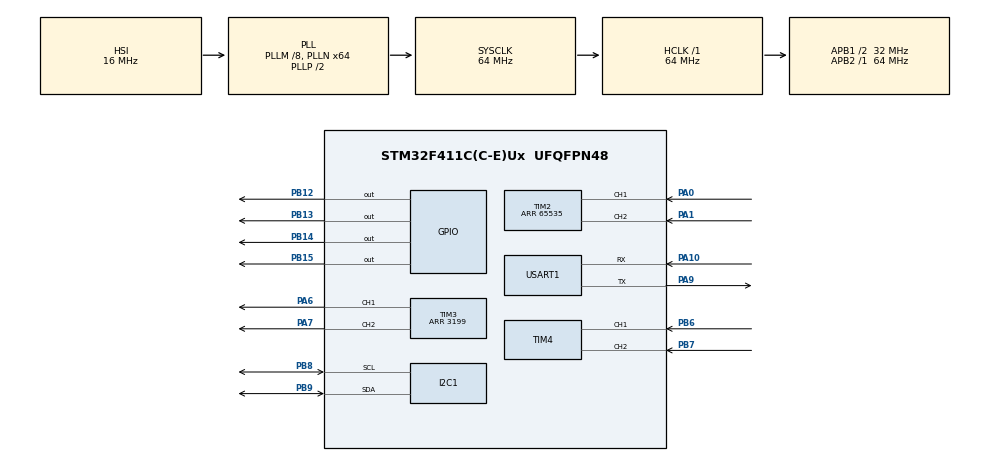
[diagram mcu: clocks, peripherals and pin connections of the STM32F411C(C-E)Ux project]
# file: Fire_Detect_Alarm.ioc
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Mcu.Family=STM32F4
Mcu.Name=STM32F411C(C-E)Ux
Mcu.Package=UFQFPN48
NVIC.I2C1_EV_IRQn=true\:0\:0\:false\:false\:true\:true\:true\:true
NVIC.PriorityGroup=NVIC_PRIORITYGROUP_4
NVIC.TIM1_UP_TIM10_IRQn=true\:0\:0\:false\:false\:true\:true\:true\:true
NVIC.TIM2_IRQn=true\:0\:0\:false\:false\:true\:true\:true\:true
NVIC.TIM4_IRQn=true\:0\:0\:false\:false\:true\:true\:true\:true
PA0-WKUP.Signal=S_TIM2_CH1_ETR
PA1.Signal=S_TIM2_CH2
PA10.Mode=Asynchronous
PA10.Signal=USART1_RX
PA13.Mode=Serial_Wire
PA13.Signal=SYS_JTMS-SWDIO
PA14.Mode=Serial_Wire
PA14.Signal=SYS_JTCK-SWCLK
PA6.Signal=S_TIM3_CH1
PA7.Signal=S_TIM3_CH2
PA9.Mode=Asynchronous
PA9.Signal=USART1_TX
PB12.Signal=GPIO_Output
PB13.Signal=GPIO_Output
PB14.Signal=GPIO_Output
PB15.Signal=GPIO_Output
PB6.Signal=S_TIM4_CH1
PB7.Signal=S_TIM4_CH2
PB8.Mode=I2C
PB8.Signal=I2C1_SCL
PB9.Mode=I2C
PB9.Signal=I2C1_SDA
ProjectManager.HeapSize=0x200
ProjectManager.StackSize=0x400
ProjectManager.TargetToolchain=MDK-ARM V5.32
RCC.48MHZClocksFreq_Value=32000000
RCC.AHBFreq_Value=64000000
RCC.APB1CLKDivider=RCC_HCLK_DIV2
RCC.APB1Freq_Value=32000000
RCC.APB1TimFreq_Value=64000000
RCC.APB2Freq_Value=64000000
RCC.APB2TimFreq_Value=64000000
RCC.CortexFreq_Value=64000000
RCC.HCLKFreq_Value=64000000
RCC.HSE_VALUE=25000000
RCC.HSI_VALUE=16000000
RCC.LSE_VALUE=32768
RCC.PLLM=8
RCC.PLLN=64
RCC.SYSCLKFreq_VALUE=64000000
RCC.SYSCLKSource=RCC_SYSCLKSOURCE_PLLCLK
RCC.VCOOutputFreq_Value=128000000
SH.S_TIM2_CH1_ETR.0=TIM2_CH1,Encoder_Interface
SH.S_TIM2_CH2.0=TIM2_CH2,Encoder_Interface
SH.S_TIM3_CH1.0=TIM3_CH1,PWM Generation1 CH1
SH.S_TIM3_CH2.0=TIM3_CH2,PWM Generation2 CH2
SH.S_TIM4_CH1.0=TIM4_CH1,Encoder_Interface
SH.S_TIM4_CH2.0=TIM4_CH2,Encoder_Interface
TIM1.Period=1999
TIM1.Prescaler=63
TIM2.EncoderMode=TIM_ENCODERMODE_TI12
TIM2.Period=65535
TIM3.Channel-PWM\ Generation1\ CH1=TIM_CHANNEL_1
TIM3.Channel-PWM\ Generation2\ CH2=TIM_CHANNEL_2
TIM3.Period=3199
TIM4.EncoderMode=TIM_ENCODERMODE_TI12
USART1.VirtualMode=VM_ASYNC
VP_TIM1_VS_ClockSourceINT.Mode=Internal
board=custom

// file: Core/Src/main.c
/* USER CODE BEGIN Header */
/**
  ******************************************************************************
  * @file           : main.c
  * @brief          : Main program body
  ******************************************************************************
  * @attention
  *
  * Copyright (c) 2025 STMicroelectronics.
  * All rights reserved.
  *
  * This software is licensed under terms that can be found in the LICENSE file
  * in the root directory of this software component.
  * If no LICENSE file comes with this software, it is provided AS-IS.
  *
  ******************************************************************************
  */
/* USER CODE END Header */
#include "main.h"

/* USER CODE BEGIN Includes */
#include "pid.h"
#include "Motor.h"
#include "math.h"
#include "mpu.h"

float Ax,Ay,Az,Gx,Gy,Gz;
float pitch  ;
float roll ;
float yaw ;
#define RTD          57.2957

/* USER CODE END Includes */

I2C_HandleTypeDef hi2c1;

TIM_HandleTypeDef htim1;
TIM_HandleTypeDef htim2;
TIM_HandleTypeDef htim3;
TIM_HandleTypeDef htim4;

UART_HandleTypeDef huart1;

void SystemClock_Config(void);
static void MX_GPIO_Init(void);
static void MX_I2C1_Init(void);
static void MX_TIM1_Init(void);
static void MX_TIM2_Init(void);
static void MX_TIM3_Init(void);
static void MX_TIM4_Init(void);
static void MX_USART1_UART_Init(void);

/* USER CODE BEGIN 0 */
Motor Left_motor;
Motor *pLeft = &Left_motor;
Motor Right_motor;
Motor *pRight = &Right_motor;
PID_TypeDef RPID;
PID_TypeDef LPID;

/* USER CODE END 0 */

int main(void)
{

  /* MCU Configuration--------------------------------------------------------*/

  /* Reset of all peripherals, Initializes the Flash interface and the Systick. */
  HAL_Init();

  /* Configure the system clock */
  SystemClock_Config();

  /* Initialize all configured peripherals */
  MX_GPIO_Init();
  MX_I2C1_Init();
  MX_TIM1_Init();
  MX_TIM2_Init();
  MX_TIM3_Init();
  MX_TIM4_Init();
  MX_USART1_UART_Init();
  /* USER CODE BEGIN 2 */
	 HAL_TIM_Base_Start_IT(&htim1);
	 HAL_TIM_Encoder_Start_IT(&htim2, TIM_CHANNEL_ALL); //LEFT
	 HAL_TIM_Encoder_Start_IT(&htim4, TIM_CHANNEL_ALL); //RIGHT

// --- PWM start ---
   HAL_TIM_PWM_Start(&htim3, TIM_CHANNEL_1);
   HAL_TIM_PWM_Start(&htim3, TIM_CHANNEL_2);
	 HAL_NVIC_SetPriority(TIM1_UP_TIM10_IRQn, 0, 0);
   HAL_NVIC_EnableIRQ(TIM1_UP_TIM10_IRQn);

// --- Base timer for control loop (interrupt) ---
	// Khoi tao 2 banh xe
   Motor_Init(&Left_motor, LEFT,GPIOB, GPIO_PIN_12, GPIOB, GPIO_PIN_13,&htim3, TIM_CHANNEL_1, &htim2, 10, 1.2, 0.3);
   Motor_Init(&Right_motor,RIGHT,GPIOB, GPIO_PIN_14, GPIOB, GPIO_PIN_15,&htim3, TIM_CHANNEL_2, &htim4	, 10 ,1.2, 0.3);

	// Khoi tao PID
	 PID(&LPID, &(pLeft->cur_speed),&(pLeft->Pid_output),&(pLeft->target_speed),pLeft->kp, pLeft->ki, pLeft->kd,_PID_P_ON_E, _PID_CD_DIRECT);
   PID_SetMode(&LPID, _PID_MODE_AUTOMATIC);
   PID_SetSampleTime(&LPID, 2);
   PID_SetOutputLimits(&LPID, -3199, 3199);

	 PID(&RPID,&(pRight->cur_speed),&(pRight->Pid_output), &(pRight->target_speed),pRight->kp, pRight->ki, pRight->kd,_PID_P_ON_E, _PID_CD_DIRECT);
   PID_SetMode(&RPID, _PID_MODE_AUTOMATIC);
   PID_SetSampleTime(&RPID, 2);
   PID_SetOutputLimits(&RPID, -3199, 3199);

	 Motor_SetTarget(&Left_motor,200);
	 Motor_SetTarget(&Right_motor,200);

	  MPU6050_init();

  /* USER CODE END 2 */

  /* Infinite loop */
  while (1)
  {

    /* USER CODE BEGIN 3 */
		MPU6050_Read_Accel(&Ax,&Ay,&Az);
		MPU6050_Read_Gyro(&Gx,&Gy,&Gz);
		filter(&Ax,&Ay,&Az,&Gx,&Gy,&Gz,&pitch,&roll,&yaw);

  }

  /* USER CODE END 3 */
}

void SystemClock_Config(void)
{
  RCC_OscInitTypeDef RCC_OscInitStruct = {0};
  RCC_ClkInitTypeDef RCC_ClkInitStruct = {0};

  /** Configure the main internal regulator output voltage
  */
  __HAL_RCC_PWR_CLK_ENABLE();
  __HAL_PWR_VOLTAGESCALING_CONFIG(PWR_REGULATOR_VOLTAGE_SCALE1);

  /** Initializes the RCC Oscillators according to the specified parameters
  * in the RCC_OscInitTypeDef structure.
  */
  RCC_OscInitStruct.OscillatorType = RCC_OSCILLATORTYPE_HSI;
  RCC_OscInitStruct.HSIState = RCC_HSI_ON;
  RCC_OscInitStruct.HSICalibrationValue = RCC_HSICALIBRATION_DEFAULT;
  RCC_OscInitStruct.PLL.PLLState = RCC_PLL_ON;
  RCC_OscInitStruct.PLL.PLLSource = RCC_PLLSOURCE_HSI;
  RCC_OscInitStruct.PLL.PLLM = 8;
  RCC_OscInitStruct.PLL.PLLN = 64;
  RCC_OscInitStruct.PLL.PLLP = RCC_PLLP_DIV2;
  RCC_OscInitStruct.PLL.PLLQ = 4;
  if (HAL_RCC_OscConfig(&RCC_OscInitStruct) != HAL_OK)
  {
    Error_Handler();
  }

  /** Initializes the CPU, AHB and APB buses clocks
  */
  RCC_ClkInitStruct.ClockType = RCC_CLOCKTYPE_HCLK|RCC_CLOCKTYPE_SYSCLK
                              |RCC_CLOCKTYPE_PCLK1|RCC_CLOCKTYPE_PCLK2;
  RCC_ClkInitStruct.SYSCLKSource = RCC_SYSCLKSOURCE_PLLCLK;
  RCC_ClkInitStruct.AHBCLKDivider = RCC_SYSCLK_DIV1;
  RCC_ClkInitStruct.APB1CLKDivider = RCC_HCLK_DIV2;
  RCC_ClkInitStruct.APB2CLKDivider = RCC_HCLK_DIV1;

  if (HAL_RCC_ClockConfig(&RCC_ClkInitStruct, FLASH_LATENCY_0) != HAL_OK)
  {
    Error_Handler();
  }
}

static void MX_I2C1_Init(void)
{

  hi2c1.Instance = I2C1;
  hi2c1.Init.ClockSpeed = 100000;
  hi2c1.Init.DutyCycle = I2C_DUTYCYCLE_2;
  hi2c1.Init.OwnAddress1 = 0;
  hi2c1.Init.AddressingMode = I2C_ADDRESSINGMODE_7BIT;
  hi2c1.Init.DualAddressMode = I2C_DUALADDRESS_DISABLE;
  hi2c1.Init.OwnAddress2 = 0;
  hi2c1.Init.GeneralCallMode = I2C_GENERALCALL_DISABLE;
  hi2c1.Init.NoStretchMode = I2C_NOSTRETCH_DISABLE;
  if (HAL_I2C_Init(&hi2c1) != HAL_OK)
  {
    Error_Handler();
  }

}

static void MX_TIM1_Init(void)
{

  TIM_ClockConfigTypeDef sClockSourceConfig = {0};
  TIM_MasterConfigTypeDef sMasterConfig = {0};

  htim1.Instance = TIM1;
  htim1.Init.Prescaler = 63;
  htim1.Init.CounterMode = TIM_COUNTERMODE_UP;
  htim1.Init.Period = 1999;
  htim1.Init.ClockDivision = TIM_CLOCKDIVISION_DIV1;
  htim1.Init.RepetitionCounter = 0;
  htim1.Init.AutoReloadPreload = TIM_AUTORELOAD_PRELOAD_DISABLE;
  if (HAL_TIM_Base_Init(&htim1) != HAL_OK)
  {
    Error_Handler();
  }
  sClockSourceConfig.ClockSource = TIM_CLOCKSOURCE_INTERNAL;
  if (HAL_TIM_ConfigClockSource(&htim1, &sClockSourceConfig) != HAL_OK)
  {
    Error_Handler();
  }
  sMasterConfig.MasterOutputTrigger = TIM_TRGO_RESET;
  sMasterConfig.MasterSlaveMode = TIM_MASTERSLAVEMODE_DISABLE;
  if (HAL_TIMEx_MasterConfigSynchronization(&htim1, &sMasterConfig) != HAL_OK)
  {
    Error_Handler();
  }

}

static void MX_TIM2_Init(void)
{

  TIM_Encoder_InitTypeDef sConfig = {0};
  TIM_MasterConfigTypeDef sMasterConfig = {0};

  htim2.Instance = TIM2;
  htim2.Init.Prescaler = 0;
  htim2.Init.CounterMode = TIM_COUNTERMODE_UP;
  htim2.Init.Period = 65535;
  htim2.Init.ClockDivision = TIM_CLOCKDIVISION_DIV1;
  htim2.Init.AutoReloadPreload = TIM_AUTORELOAD_PRELOAD_DISABLE;
  sConfig.EncoderMode = TIM_ENCODERMODE_TI12;
  sConfig.IC1Polarity = TIM_ICPOLARITY_RISING;
  sConfig.IC1Selection = TIM_ICSELECTION_DIRECTTI;
  sConfig.IC1Prescaler = TIM_ICPSC_DIV1;
  sConfig.IC1Filter = 0;
  sConfig.IC2Polarity = TIM_ICPOLARITY_RISING;
  sConfig.IC2Selection = TIM_ICSELECTION_DIRECTTI;
  sConfig.IC2Prescaler = TIM_ICPSC_DIV1;
  sConfig.IC2Filter = 0;
  if (HAL_TIM_Encoder_Init(&htim2, &sConfig) != HAL_OK)
  {
    Error_Handler();
  }
  sMasterConfig.MasterOutputTrigger = TIM_TRGO_RESET;
  sMasterConfig.MasterSlaveMode = TIM_MASTERSLAVEMODE_DISABLE;
  if (HAL_TIMEx_MasterConfigSynchronization(&htim2, &sMasterConfig) != HAL_OK)
  {
    Error_Handler();
  }

}

static void MX_TIM3_Init(void)
{

  TIM_MasterConfigTypeDef sMasterConfig = {0};
  TIM_OC_InitTypeDef sConfigOC = {0};

  htim3.Instance = TIM3;
  htim3.Init.Prescaler = 0;
  htim3.Init.CounterMode = TIM_COUNTERMODE_UP;
  htim3.Init.Period = 3199;
  htim3.Init.ClockDivision = TIM_CLOCKDIVISION_DIV1;
  htim3.Init.AutoReloadPreload = TIM_AUTORELOAD_PRELOAD_DISABLE;
  if (HAL_TIM_PWM_Init(&htim3) != HAL_OK)
  {
    Error_Handler();
  }
  sMasterConfig.MasterOutputTrigger = TIM_TRGO_RESET;
  sMasterConfig.MasterSlaveMode = TIM_MASTERSLAVEMODE_DISABLE;
  if (HAL_TIMEx_MasterConfigSynchronization(&htim3, &sMasterConfig) != HAL_OK)
  {
    Error_Handler();
  }
  sConfigOC.OCMode = TIM_OCMODE_PWM1;
  sConfigOC.Pulse = 0;
  sConfigOC.OCPolarity = TIM_OCPOLARITY_HIGH;
  sConfigOC.OCFastMode = TIM_OCFAST_DISABLE;
  if (HAL_TIM_PWM_ConfigChannel(&htim3, &sConfigOC, TIM_CHANNEL_1) != HAL_OK)
  {
    Error_Handler();
  }
  if (HAL_TIM_PWM_ConfigChannel(&htim3, &sConfigOC, TIM_CHANNEL_2) != HAL_OK)
  {
    Error_Handler();
  }
  HAL_TIM_MspPostInit(&htim3);

}

static void MX_TIM4_Init(void)
{

  TIM_Encoder_InitTypeDef sConfig = {0};
  TIM_MasterConfigTypeDef sMasterConfig = {0};

  htim4.Instance = TIM4;
  htim4.Init.Prescaler = 0;
  htim4.Init.CounterMode = TIM_COUNTERMODE_UP;
  htim4.Init.Period = 65535;
  htim4.Init.ClockDivision = TIM_CLOCKDIVISION_DIV1;
  htim4.Init.AutoReloadPreload = TIM_AUTORELOAD_PRELOAD_DISABLE;
  sConfig.EncoderMode = TIM_ENCODERMODE_TI12;
  sConfig.IC1Polarity = TIM_ICPOLARITY_RISING;
  sConfig.IC1Selection = TIM_ICSELECTION_DIRECTTI;
  sConfig.IC1Prescaler = TIM_ICPSC_DIV1;
  sConfig.IC1Filter = 0;
  sConfig.IC2Polarity = TIM_ICPOLARITY_RISING;
  sConfig.IC2Selection = TIM_ICSELECTION_DIRECTTI;
  sConfig.IC2Prescaler = TIM_ICPSC_DIV1;
  sConfig.IC2Filter = 0;
  if (HAL_TIM_Encoder_Init(&htim4, &sConfig) != HAL_OK)
  {
    Error_Handler();
  }
  sMasterConfig.MasterOutputTrigger = TIM_TRGO_RESET;
  sMasterConfig.MasterSlaveMode = TIM_MASTERSLAVEMODE_DISABLE;
  if (HAL_TIMEx_MasterConfigSynchronization(&htim4, &sMasterConfig) != HAL_OK)
  {
    Error_Handler();
  }

}

static void MX_USART1_UART_Init(void)
{

  huart1.Instance = USART1;
  huart1.Init.BaudRate = 115200;
  huart1.Init.WordLength = UART_WORDLENGTH_8B;
  huart1.Init.StopBits = UART_STOPBITS_1;
  huart1.Init.Parity = UART_PARITY_NONE;
  huart1.Init.Mode = UART_MODE_TX_RX;
  huart1.Init.HwFlowCtl = UART_HWCONTROL_NONE;
  huart1.Init.OverSampling = UART_OVERSAMPLING_16;
  if (HAL_UART_Init(&huart1) != HAL_OK)
  {
    Error_Handler();
  }

}

static void MX_GPIO_Init(void)
{
  GPIO_InitTypeDef GPIO_InitStruct = {0};

  /* GPIO Ports Clock Enable */
  __HAL_RCC_GPIOA_CLK_ENABLE();
  __HAL_RCC_GPIOB_CLK_ENABLE();

  /*Configure GPIO pin Output Level */
  HAL_GPIO_WritePin(GPIOB, GPIO_PIN_12|GPIO_PIN_13|GPIO_PIN_14|GPIO_PIN_15, GPIO_PIN_RESET);

  /*Configure GPIO pins : PB12 PB13 PB14 PB15 */
  GPIO_InitStruct.Pin = GPIO_PIN_12|GPIO_PIN_13|GPIO_PIN_14|GPIO_PIN_15;
  GPIO_InitStruct.Mode = GPIO_MODE_OUTPUT_PP;
  GPIO_InitStruct.Pull = GPIO_NOPULL;
  GPIO_InitStruct.Speed = GPIO_SPEED_FREQ_LOW;
  HAL_GPIO_Init(GPIOB, &GPIO_InitStruct);

}

/* USER CODE BEGIN 4 */
 void HAL_TIM_PeriodElapsedCallback(TIM_HandleTypeDef *htim)
{
   if (htim->Instance == TIM1) {
       Motor_GetSpeed(&Left_motor);
		   PID_Compute(&LPID);
		   Motor_GetSpeed(&Right_motor);
		   PID_Compute(&RPID);
		   Motor_SetPwm(&Left_motor);
		   Motor_SetPwm(&Right_motor);

    }
}

/* USER CODE END 4 */

void Error_Handler(void)
{
  __disable_irq();
  while (1)
  {
  }
}
